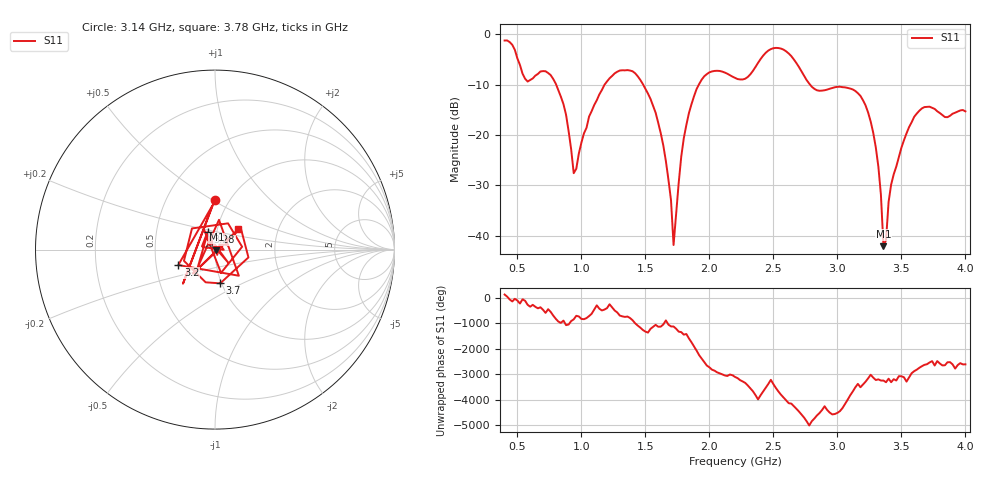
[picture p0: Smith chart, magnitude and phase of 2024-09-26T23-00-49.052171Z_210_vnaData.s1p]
!Created with skrf (http://scikit-rf.org).
# Hz S RI R 50.0
!freq ReS11 ImS11
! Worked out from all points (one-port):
!   181 points, 400 MHz to 4 GHz, reference 50 ohm
!   lowest |S11| = -42.1 dB at 3.36 GHz (marker M1), VSWR 1.02, Z = 50.8 - j0.0432 ohm
!   |S11| at or under -10 dB: 803 MHz to 1.181 GHz (377.7 MHz wide, 38.1 % of centre); 1.483 GHz to 1.917 GHz (434.5 MHz wide, 25.6 % of centre); 2.787 GHz to end of sweep
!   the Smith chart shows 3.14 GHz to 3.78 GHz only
!   S11 on the Smith chart (normalised r, x): 3.14 GHz: 0.86, +0.51; 3.2 GHz: 0.65, -0.12; 3.28 GHz: 0.91, +0.18; 3.7 GHz: 0.99, -0.38; 3.78 GHz: 1.26, +0.29
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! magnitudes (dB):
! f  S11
! 400 MHz  -1.2
! 580 MHz  -9.4
! 720 MHz  -7.3
! 860 MHz  -13.9
! 940 MHz  -27.6
! 1.1 GHz  -14.0
! 1.3 GHz  -7.2
! 1.58 GHz  -15.6
! 1.68 GHz  -28.9
! 1.72 GHz  -41.9
! 1.76 GHz  -29.6
! 1.82 GHz  -18.0
! 1.92 GHz  -9.9
! 2.2 GHz  -8.6
! 2.5 GHz  -2.7
! 2.66 GHz  -5.0
! 2.84 GHz  -11.1
! 3.1 GHz  -10.8
! 3.14 GHz  -11.2
! 3.2 GHz  -13.1
! 3.28 GHz  -19.6
! 3.34 GHz  -31.9
! 3.36 GHz  -42.1
! 3.42 GHz  -29.8
! 3.56 GHz  -18.4
! 3.7 GHz  -14.4
! 3.78 GHz  -15.3
! 4 GHz  -15.3
